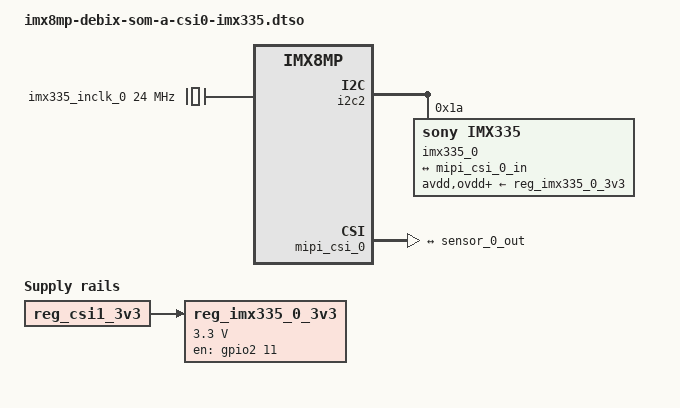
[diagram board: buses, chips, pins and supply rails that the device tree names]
// SPDX-License-Identifier: (GPL-2.0+ OR MIT)
/*
 * Copyright 2023 Ideas on Board Oy
 */

/dts-v1/;
/plugin/;

#include <dt-bindings/gpio/gpio.h>

#include "imx8mp-debix-som-a-csi0.dtsi"

/* Arducam IMX335 Fixed 24 MHz crystal */
&{/} {
	/* 24 MHz Crystal on the camera module */
	imx335_inclk_0: imx335_inclk_24m {
		compatible = "fixed-clock";
		#clock-cells = <0>;
		status = "okay";
		clock-frequency = <24000000>;
	};

	reg_imx335_0_3v3: regulator-imx335-0-vdd3v3 {
		compatible = "regulator-fixed";
		pinctrl-names = "default";
		pinctrl-0 = <&pinctrl_csi0_pwdn>;
		regulator-min-microvolt = <3300000>;
		regulator-max-microvolt = <3300000>;
		regulator-name = "IMX335_0_POWER_EN";
		gpio = <&gpio2 11 GPIO_ACTIVE_HIGH>;
		vin-supply = <&reg_csi1_3v3>;
		startup-delay-us = <300000>;
		enable-active-high;
	};
};

&i2c2 {
	imx335_0: sensor@1a {
		compatible = "sony,imx335";
		reg = <0x1a>;

		clocks = <&imx335_inclk_0>;
		clock-names = "xclk";

		rotation = <180>;
		orientation = <0>;

		status = "okay";

		/* Arducam IMX335 module uses *only* the 3v3 line */
		avdd-supply = <&reg_imx335_0_3v3>;
		ovdd-supply = <&reg_imx335_0_3v3>;
		dvdd-supply = <&reg_imx335_0_3v3>;

		port {
			sensor_0_out: endpoint {
				remote-endpoint = <&mipi_csi_0_in>;
				clock-lanes = <0>;
				data-lanes = <1 2 3 4>;
				link-frequencies = /bits/ 64 <594000000>;
			};
		};
	};
};

&mipi_csi_0 {
	status = "okay";

	ports {
		port@0 {
			mipi_csi_0_in: endpoint {
				remote-endpoint = <&sensor_0_out>;
				clock-lanes = <0>;
				data-lanes = <1 2 3 4>;
			};
		};
	};
};

